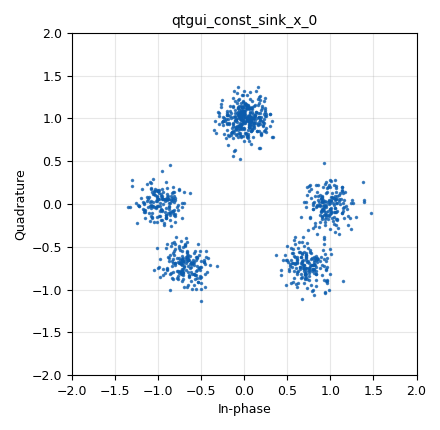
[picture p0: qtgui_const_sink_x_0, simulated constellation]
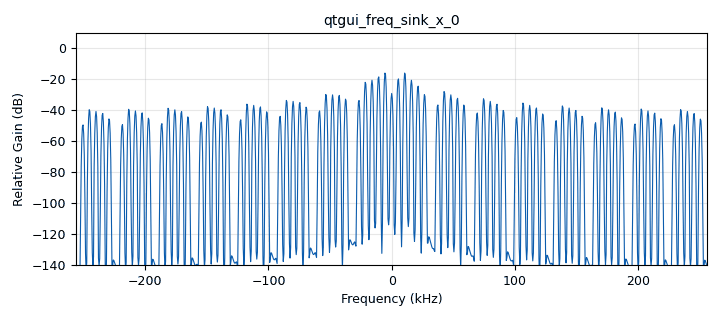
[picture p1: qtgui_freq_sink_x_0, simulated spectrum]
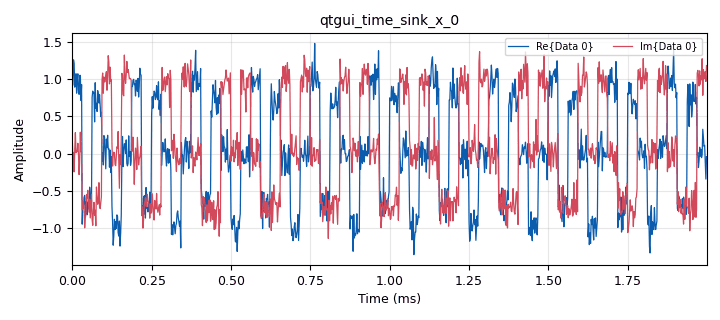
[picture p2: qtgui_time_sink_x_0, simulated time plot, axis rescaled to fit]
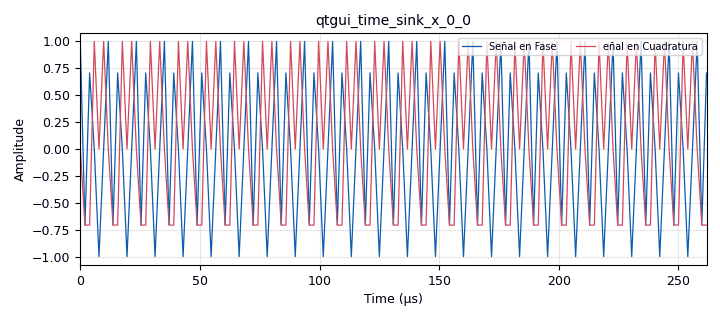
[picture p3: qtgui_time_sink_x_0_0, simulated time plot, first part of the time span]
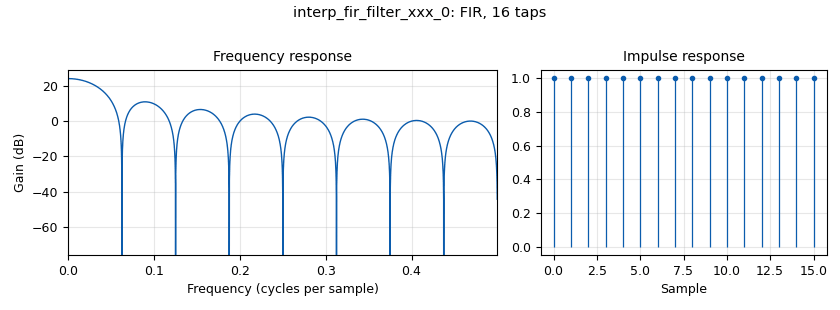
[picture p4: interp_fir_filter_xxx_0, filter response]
options:
  parameters:
    author: Esteban Rosa, Carolaroy Castellanos, Dylan Villalb
    generate_options: qt_gui
    id: Prac1_Fase2
    output_language: python
    title: Modulacion M_PSK
  states: {}

blocks:
- name: M
  id: variable
  parameters:
    value: len(tabla_de_verdad)
  states: {}
- name: Rb
  id: variable
  parameters:
    value: Rs*bps
  states: {}
- name: Rs
  id: variable
  parameters:
    value: '32000'
  states: {}
- name: Sps
  id: variable
  parameters:
    value: '16'
  states: {}
- name: bps
  id: variable
  parameters:
    value: int(math.log(M,2))
  states: {}
- name: h
  id: variable
  parameters:
    value: '[1]*Sps'
  states: {}
- name: samp_rate
  id: variable
  parameters:
    value: Rs*Sps
  states: {}
- name: tabla_de_verdad
  id: variable
  parameters:
    value: '[-0.707-0.707j, -1+0j, 0+1j, -0.707+0.707j, 0-1j, 0.707-0.707j,0.707+0.707j, 1+0j]'
  states: {}
- name: analog_noise_source_x_0
  id: analog_noise_source_x
  parameters:
    amp: '0.2'
    noise_type: analog.GR_GAUSSIAN
    seed: '0'
    type: complex
  states: {}
- name: analog_random_source_x_0
  id: analog_random_source_x
  parameters:
    max: '2'
    min: '0'
    num_samps: '1000'
    repeat: 'True'
    type: byte
  states: {state: disabled}
- name: blocks_add_xx_0
  id: blocks_add_xx
  parameters:
    type: complex
  states: {}
- name: blocks_pack_k_bits_bb_0
  id: blocks_pack_k_bits_bb
  parameters:
    k: '8'
  states: {}
- name: blocks_packed_to_unpacked_xx_0
  id: blocks_packed_to_unpacked_xx
  parameters:
    bits_per_chunk: bps
    endianness: gr.GR_MSB_FIRST
    type: byte
  states: {}
- name: blocks_vector_source_x_0
  id: blocks_vector_source_x
  parameters:
    repeat: 'True'
    type: byte
    vector: (1,0,1,0,1,0,0,0,1,0,1,0,1,1,1,0,0,0)
  states: {}
- name: digital_chunks_to_symbols_xx_0
  id: digital_chunks_to_symbols_xx
  parameters:
    dimension: '1'
    in_type: byte
    out_type: complex
    symbol_table: tabla_de_verdad
  states: {}
- name: import_0
  id: import
  parameters:
    imports: import math
  states: {}
- name: interp_fir_filter_xxx_0
  id: interp_fir_filter_xxx
  parameters:
    interp: Sps
    taps: h
    type: ccf
  states: {}
- name: qtgui_const_sink_x_0
  id: qtgui_const_sink_x
  parameters:
    size: '1024'
    type: complex
  states: {}
- name: qtgui_freq_sink_x_0
  id: qtgui_freq_sink_x
  parameters:
    average: '0.05'
    bw: samp_rate
    fc: '0'
    fftsize: '1024'
    type: complex
  states: {}
- name: qtgui_time_sink_x_0
  id: qtgui_time_sink_x
  parameters:
    size: '1024'
    srate: samp_rate
    type: complex
  states: {}
- name: qtgui_time_sink_x_0_0
  id: qtgui_time_sink_x
  parameters:
    label1: Señal en Fase
    label2: eñal en Cuadratura
    size: '1024'
    srate: samp_rate
    type: complex
  states: {}
- name: virtual_sink_0
  id: virtual_sink
  parameters:
    stream_id: p1
  states: {}
- name: virtual_sink_0_0
  id: virtual_sink
  parameters:
    stream_id: p0
  states: {}
- name: virtual_source_0
  id: virtual_source
  parameters:
    stream_id: p1
  states: {}
- name: virtual_source_0_0
  id: virtual_source
  parameters:
    stream_id: p0
  states: {}

connections:
- [analog_noise_source_x_0, '0', blocks_add_xx_0, '0']
- [analog_random_source_x_0, '0', blocks_pack_k_bits_bb_0, '0']
- [blocks_add_xx_0, '0', virtual_sink_0, '0']
- [blocks_pack_k_bits_bb_0, '0', blocks_packed_to_unpacked_xx_0, '0']
- [blocks_packed_to_unpacked_xx_0, '0', digital_chunks_to_symbols_xx_0, '0']
- [blocks_vector_source_x_0, '0', blocks_pack_k_bits_bb_0, '0']
- [digital_chunks_to_symbols_xx_0, '0', interp_fir_filter_xxx_0, '0']
- [digital_chunks_to_symbols_xx_0, '0', qtgui_time_sink_x_0_0, '0']
- [interp_fir_filter_xxx_0, '0', blocks_add_xx_0, '1']
- [interp_fir_filter_xxx_0, '0', virtual_sink_0_0, '0']
- [virtual_source_0, '0', qtgui_const_sink_x_0, '0']
- [virtual_source_0, '0', qtgui_time_sink_x_0, '0']
- [virtual_source_0_0, '0', qtgui_freq_sink_x_0, '0']

metadata:
  file_format: 1
